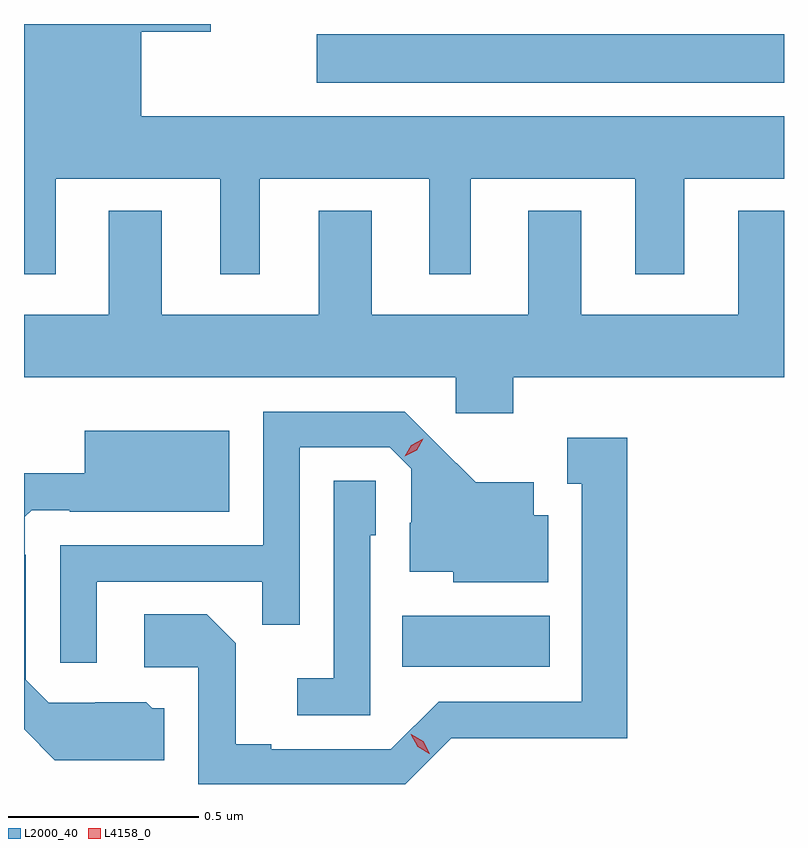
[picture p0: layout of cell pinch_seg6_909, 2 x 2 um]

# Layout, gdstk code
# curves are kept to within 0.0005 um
import gdstk
lib = gdstk.Library(unit=1e-6, precision=1e-09)
def R(c, l, rs):  # rectangles x0, y0, x1, y1
    for r in rs: c.add(gdstk.rectangle(r[:2], r[2:], *l))
def P(c, l, *ps):  # polygons
    for p in ps: c.add(gdstk.Polygon(p, *l))
L2000_40 = (2000, 40)
L4158_0 = (4158, 0)

pinch_seg6_909 = lib.new_cell('pinch_seg6_909')
R(pinch_seg6_909, L2000_40, [(151.798,990.53,152.185,990.664), (151.572,992.066,152.802,992.194)])
P(pinch_seg6_909, L2000_40, [(150.886,991.814),(151.319,991.814),(151.319,991.563),(151.423,991.563),(151.423,991.814),(151.868,991.814),(151.868,991.563),(151.978,991.563),(151.978,991.814),(152.411,991.814),(152.411,991.563),(152.539,991.563),(152.539,991.814),(152.802,991.814),(152.802,991.978),(151.111,991.978),(151.111,992.201),(151.294,992.201),(151.294,992.221),(150.802,992.221),(150.802,991.563),(150.886,991.563)],
  [(152.09,991.292),(152.802,991.292),(152.802,991.729),(152.681,991.729),(152.681,991.456),(152.269,991.456),(152.269,991.729),(152.129,991.729),(152.129,991.456),(151.717,991.456),(151.717,991.729),(151.577,991.729),(151.577,991.456),(151.165,991.456),(151.165,991.729),(151.025,991.729),(151.025,991.456),(150.802,991.456),(150.802,991.292),(151.938,991.292),(151.938,991.197),(152.09,991.197)],
  [(150.993,990.753),(151.429,990.753),(151.429,990.64),(151.527,990.64),(151.527,991.107),(151.764,991.107),(151.821,991.05),(151.821,990.908),(151.817,990.908),(151.817,990.779),(151.932,990.779),(151.932,990.752),(152.182,990.752),(152.182,990.928),(152.143,990.928),(152.143,991.015),(151.991,991.015),(151.804,991.2),(151.431,991.2),(151.431,990.849),(150.897,990.849),(150.897,990.54),(150.993,990.54)],
  [(151.171,990.42),(151.14,990.42),(151.124,990.436),(150.99,990.436),(150.99,990.435),(150.867,990.435),(150.807,990.495),(150.807,990.824),(150.804,990.824),(150.804,990.924),(150.822,990.942),(150.922,990.942),(150.922,990.938),(151.342,990.938),(151.342,991.15),(150.962,991.15),(150.962,991.039),(150.802,991.039),(150.802,990.366),(150.883,990.284),(151.171,990.284)],
  [(151.926,990.342),(152.148,990.342),(152.148,990.341),(152.389,990.341),(152.389,991.132),(152.231,991.132),(152.231,991.011),(152.27,991.011),(152.27,990.438),(151.893,990.438),(151.767,990.312),(151.453,990.312),(151.453,990.325),(151.359,990.325),(151.359,990.592),(151.283,990.668),(151.119,990.668),(151.119,990.528),(151.26,990.528),(151.26,990.221),(151.805,990.221)],
  [(151.713,990.876),(151.728,990.876),(151.728,991.019),(151.617,991.019),(151.617,990.499),(151.521,990.499),(151.521,990.402),(151.713,990.402)])
P(pinch_seg6_909, L4158_0, [(151.869,990.3),(151.838,990.319),(151.82,990.352),(151.82,990.352),(151.821,990.352),(151.852,990.333),(151.87,990.3),(151.87,990.3)],
  [(151.804,991.083),(151.804,991.083),(151.821,991.113),(151.852,991.129),(151.852,991.129),(151.852,991.129),(151.835,991.099),(151.804,991.083)])

lib.write_gds('pinch_seg6_909.gds')
